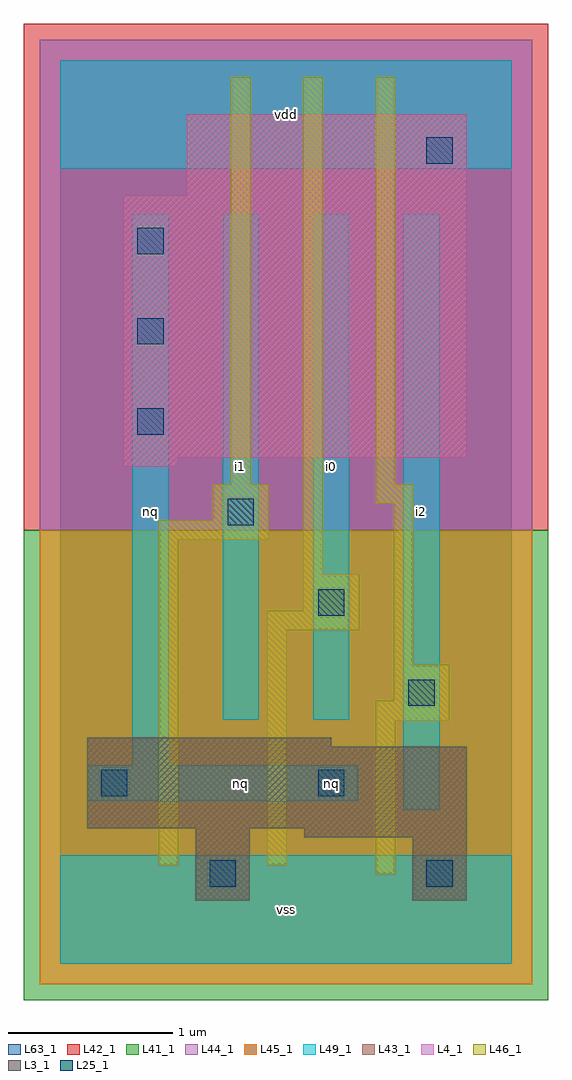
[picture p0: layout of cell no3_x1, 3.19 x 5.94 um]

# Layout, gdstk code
import gdstk
lib = gdstk.Library(unit=1e-6, precision=1e-09)
def R(c, l, rs):  # rectangles x0, y0, x1, y1
    for r in rs: c.add(gdstk.rectangle(r[:2], r[2:], *l))
def A(c, l, x, y, w, h, nx, ny, dx, dy):  # array of equal rectangles
    R(c, l, [(x+i*dx, y+j*dy, x+i*dx+w, y+j*dy+h) for i in range(nx) for j in range(ny)])
L3_1 = (3, 1)
L4_1 = (4, 1)
L25_1 = (25, 1)
L41_1 = (41, 1)
L42_1 = (42, 1)
L43_1 = (43, 1)
L44_1 = (44, 1)
L45_1 = (45, 1)
L46_1 = (46, 1)
L49_1 = (49, 1)
L63_1 = (63, 1)

no3_x1 = lib.new_cell('no3_x1')
R(no3_x1, L3_1, [(0.825,0.385,1.155,0.825), (2.145,0.385,2.475,0.77), (1.485,0.77,2.475,0.825), (0.165,0.825,2.475,1.32), (0.165,1.32,1.65,1.375)])
R(no3_x1, L4_1, [(0.385,3.025,0.715,3.08), (0.385,3.08,2.475,4.675), (0.77,4.675,2.475,5.17)])
A(no3_x1, L25_1, 0.47, 3.22, 0.16, 0.16, 1, 3, 0, 0.55)
R(no3_x1, L25_1, [(0.91,0.47,1.07,0.63), (2.23,0.47,2.39,0.63), (0.25,1.02,0.41,1.18), (1.57,1.02,1.73,1.18), (2.12,1.57,2.28,1.73), (1.57,2.12,1.73,2.28), (1.02,2.67,1.18,2.83), (2.23,4.87,2.39,5.03)])
R(no3_x1, L41_1, [(-0.22,-0.22,2.97,2.64)])
R(no3_x1, L42_1, [(-0.22,2.64,2.97,5.72)])
R(no3_x1, L43_1, [(0.825,0.385,1.155,0.825), (2.145,0.385,2.475,0.77), (1.485,0.77,2.475,0.825), (0.165,0.825,2.475,1.32), (0.165,1.32,1.65,1.375), (0.385,3.025,0.715,3.08), (0.385,3.08,2.475,4.675), (0.77,4.675,2.475,5.17)])
R(no3_x1, L44_1, [(-0.125,2.64,2.875,5.625)])
R(no3_x1, L45_1, [(-0.125,-0.125,2.875,2.64)])
R(no3_x1, L46_1, [(1.92,0.545,2.04,1.48), (0.6,0.6,0.72,2.58), (1.26,0.6,1.38,2.03), (1.92,1.48,2.37,1.6), (2.03,1.6,2.37,1.82), (2.03,1.82,2.15,2.8), (1.26,2.03,1.82,2.15), (1.48,2.15,1.82,2.37), (1.48,2.37,1.6,5.395), (0.6,2.58,1.27,2.7), (0.93,2.7,1.27,2.92), (1.92,2.8,2.15,2.92), (1.04,2.92,1.16,5.395), (1.92,2.92,2.04,5.395)])
R(no3_x1, L49_1, [(0,0,2.75,0.66), (2.09,0.935,2.31,4.565), (0.165,0.99,1.815,1.21), (0.44,1.21,0.66,4.565), (0.99,1.485,1.21,4.565), (1.54,1.485,1.76,4.565), (0,4.84,2.75,5.5)])
R(no3_x1, L63_1, [(0,0,2.75,5.5)])
no3_x1.add(gdstk.Label('nq', (1.1,1.1), layer=49, texttype=1))
no3_x1.add(gdstk.Label('nq', (0.55,2.75), layer=49, texttype=1))
no3_x1.add(gdstk.Label('i1', (1.1,3.025), layer=49, texttype=1))
no3_x1.add(gdstk.Label('vss', (1.375,0.33), layer=49, texttype=1))
no3_x1.add(gdstk.Label('nq', (1.65,1.1), layer=49, texttype=1))
no3_x1.add(gdstk.Label('i0', (1.65,3.025), layer=49, texttype=1))
no3_x1.add(gdstk.Label('vdd', (1.375,5.17), layer=49, texttype=1))
no3_x1.add(gdstk.Label('i2', (2.2,2.75), layer=49, texttype=1))

lib.write_gds('no3_x1.gds')
